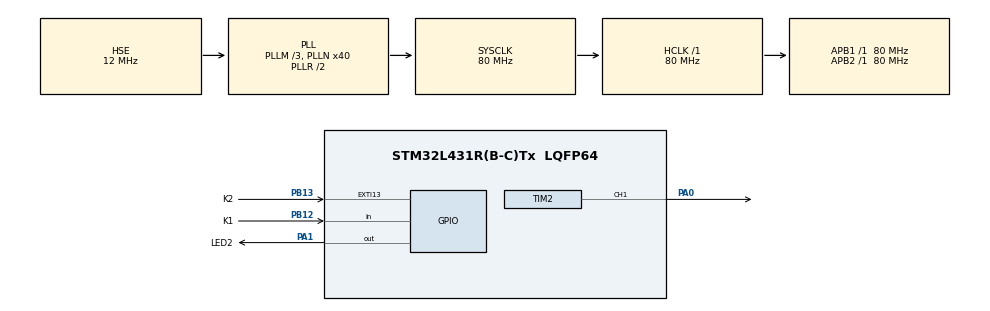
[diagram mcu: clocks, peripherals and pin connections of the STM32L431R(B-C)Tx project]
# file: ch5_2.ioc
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Mcu.Family=STM32L4
Mcu.Name=STM32L431R(B-C)Tx
Mcu.Package=LQFP64
NVIC.EXTI15_10_IRQn=true\:0\:0\:false\:false\:true\:true\:true\:true
NVIC.PriorityGroup=NVIC_PRIORITYGROUP_4
NVIC.TIM6_DAC_IRQn=true\:0\:0\:false\:false\:true\:true\:true\:true
PA0.Signal=S_TIM2_CH1
PA1.GPIO_Label=LED2
PA1.PinState=GPIO_PIN_SET
PA1.Signal=GPIO_Output
PA13\ (JTMS-SWDIO).Mode=Serial_Wire
PA13\ (JTMS-SWDIO).Signal=SYS_JTMS-SWDIO
PA14\ (JTCK-SWCLK).Mode=Serial_Wire
PA14\ (JTCK-SWCLK).Signal=SYS_JTCK-SWCLK
PB12.GPIO_Label=K1
PB12.GPIO_PuPd=GPIO_PULLDOWN
PB12.Signal=GPIO_Input
PB13.GPIO_Label=K2
PB13.GPIO_ModeDefaultEXTI=GPIO_MODE_IT_RISING
PB13.GPIO_PuPd=GPIO_PULLDOWN
PB13.Signal=GPXTI13
PH0-OSC_IN\ (PH0).Mode=HSE-External-Oscillator
PH0-OSC_IN\ (PH0).Signal=RCC_OSC_IN
PH1-OSC_OUT\ (PH1).Mode=HSE-External-Oscillator
PH1-OSC_OUT\ (PH1).Signal=RCC_OSC_OUT
ProjectManager.HeapSize=0x200
ProjectManager.StackSize=0x400
ProjectManager.TargetToolchain=STM32CubeIDE
RCC.ADCFreq_Value=16000000
RCC.AHBFreq_Value=80000000
RCC.APB1Freq_Value=80000000
RCC.APB1TimFreq_Value=80000000
RCC.APB2Freq_Value=80000000
RCC.APB2TimFreq_Value=80000000
RCC.CortexFreq_Value=80000000
RCC.HCLKFreq_Value=80000000
RCC.HSE_VALUE=12000000
RCC.HSI48_VALUE=48000000
RCC.HSI_VALUE=16000000
RCC.LSE_VALUE=32768
RCC.MSI_VALUE=4000000
RCC.PLLM=3
RCC.PLLN=40
RCC.PLLSourceVirtual=RCC_PLLSOURCE_HSE
RCC.SYSCLKFreq_VALUE=80000000
RCC.SYSCLKSource=RCC_SYSCLKSOURCE_PLLCLK
RCC.VCOOutputFreq_Value=160000000
SH.S_TIM2_CH1.0=TIM2_CH1,PWM Generation1 CH1
TIM2.AutoReloadPreload=TIM_AUTORELOAD_PRELOAD_ENABLE
TIM2.Channel-PWM\ Generation1\ CH1=TIM_CHANNEL_1
TIM2.Period=1000-1
TIM2.Prescaler=80-1
TIM6.AutoReloadPreload=TIM_AUTORELOAD_PRELOAD_ENABLE
TIM6.Period=10000-1
TIM6.Prescaler=8000-1
VP_TIM2_VS_ClockSourceINT.Mode=Internal
VP_TIM6_VS_ClockSourceINT.Mode=Enable_Timer
board=custom

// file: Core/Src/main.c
/* USER CODE BEGIN Header */
/**
  ******************************************************************************
  * @file           : main.c
  * @brief          : Main program body
  ******************************************************************************
  * @attention
  *
  * Copyright (c) 2021 STMicroelectronics.
  * All rights reserved.
  *
  * This software is licensed under terms that can be found in the LICENSE file
  * in the root directory of this software component.
  * If no LICENSE file comes with this software, it is provided AS-IS.
  *
  ******************************************************************************
  */
/*
 * �?1）上电或复位后，系统进行初始化，初始化完成后进入正常运行状�??, LED1�?1s的改变亮度，亮度�?10级，从亮�?1逐渐变为亮度10，再从亮�?10变为亮度1，以此循环�??
 * �?2）按键K1通过轮询的方式控制LED2，每按一次K1，LED2状�?�发生一次改变�??
 * �?3）按键K2通过外部中断的方式控制LED2，每按一次K1，LED2状�?�发生一次改变�??
 * */
/* USER CODE END Header */
#include "main.h"

 TIM_HandleTypeDef htim2;
TIM_HandleTypeDef htim6;

/* USER CODE BEGIN PV */
/* 3. 定义PWM参数 */
int rcc = 0;//rcc值
int up = 1;//占空比亮度增加标志
/* USER CODE END PV */

void SystemClock_Config(void);
static void MX_GPIO_Init(void);
static void MX_TIM6_Init(void);
static void MX_TIM2_Init(void);

int main(void)
{

  /* MCU Configuration--------------------------------------------------------*/

  /* Reset of all peripherals, Initializes the Flash interface and the Systick. */
  HAL_Init();

  /* Configure the system clock */
  SystemClock_Config();

  /* Initialize all configured peripherals */
  MX_GPIO_Init();
  MX_TIM6_Init();
  MX_TIM2_Init();
  /* USER CODE BEGIN 2 */

  /* 4. 启动TIM6 */
  HAL_TIM_Base_Start_IT(&htim6);

  /* 5. 启动TIM2 PWM输出 */
  HAL_TIM_PWM_Start(&htim2, TIM_CHANNEL_1);
  /* USER CODE END 2 */

  /* Infinite loop */
  /* USER CODE BEGIN WHILE */
  while (1)
  {

	  /* 1. 每按一次K1，LED1状态改变一次 */
	  if(HAL_GPIO_ReadPin(K1_GPIO_Port, K1_Pin) == GPIO_PIN_SET)//判断K1是否按下
	  {
		  while(HAL_GPIO_ReadPin(K1_GPIO_Port, K1_Pin) == GPIO_PIN_SET);//等待K1释放
		  HAL_GPIO_TogglePin(LED2_GPIO_Port, LED2_Pin);//电平翻转
	  }

    /* USER CODE END WHILE */

  }
}

void SystemClock_Config(void)
{
  RCC_OscInitTypeDef RCC_OscInitStruct = {0};
  RCC_ClkInitTypeDef RCC_ClkInitStruct = {0};

  /** Configure the main internal regulator output voltage
  */
  if (HAL_PWREx_ControlVoltageScaling(PWR_REGULATOR_VOLTAGE_SCALE1) != HAL_OK)
  {
    Error_Handler();
  }

  /** Initializes the RCC Oscillators according to the specified parameters
  * in the RCC_OscInitTypeDef structure.
  */
  RCC_OscInitStruct.OscillatorType = RCC_OSCILLATORTYPE_HSE;
  RCC_OscInitStruct.HSEState = RCC_HSE_ON;
  RCC_OscInitStruct.PLL.PLLState = RCC_PLL_ON;
  RCC_OscInitStruct.PLL.PLLSource = RCC_PLLSOURCE_HSE;
  RCC_OscInitStruct.PLL.PLLM = 3;
  RCC_OscInitStruct.PLL.PLLN = 40;
  RCC_OscInitStruct.PLL.PLLP = RCC_PLLP_DIV7;
  RCC_OscInitStruct.PLL.PLLQ = RCC_PLLQ_DIV2;
  RCC_OscInitStruct.PLL.PLLR = RCC_PLLR_DIV2;
  if (HAL_RCC_OscConfig(&RCC_OscInitStruct) != HAL_OK)
  {
    Error_Handler();
  }

  /** Initializes the CPU, AHB and APB buses clocks
  */
  RCC_ClkInitStruct.ClockType = RCC_CLOCKTYPE_HCLK|RCC_CLOCKTYPE_SYSCLK
                              |RCC_CLOCKTYPE_PCLK1|RCC_CLOCKTYPE_PCLK2;
  RCC_ClkInitStruct.SYSCLKSource = RCC_SYSCLKSOURCE_PLLCLK;
  RCC_ClkInitStruct.AHBCLKDivider = RCC_SYSCLK_DIV1;
  RCC_ClkInitStruct.APB1CLKDivider = RCC_HCLK_DIV1;
  RCC_ClkInitStruct.APB2CLKDivider = RCC_HCLK_DIV1;

  if (HAL_RCC_ClockConfig(&RCC_ClkInitStruct, FLASH_LATENCY_4) != HAL_OK)
  {
    Error_Handler();
  }
}

static void MX_TIM2_Init(void)
{

  TIM_ClockConfigTypeDef sClockSourceConfig = {0};
  TIM_MasterConfigTypeDef sMasterConfig = {0};
  TIM_OC_InitTypeDef sConfigOC = {0};

  htim2.Instance = TIM2;
  htim2.Init.Prescaler = 80-1;
  htim2.Init.CounterMode = TIM_COUNTERMODE_UP;
  htim2.Init.Period = 1000-1;
  htim2.Init.ClockDivision = TIM_CLOCKDIVISION_DIV1;
  htim2.Init.AutoReloadPreload = TIM_AUTORELOAD_PRELOAD_ENABLE;
  if (HAL_TIM_Base_Init(&htim2) != HAL_OK)
  {
    Error_Handler();
  }
  sClockSourceConfig.ClockSource = TIM_CLOCKSOURCE_INTERNAL;
  if (HAL_TIM_ConfigClockSource(&htim2, &sClockSourceConfig) != HAL_OK)
  {
    Error_Handler();
  }
  if (HAL_TIM_PWM_Init(&htim2) != HAL_OK)
  {
    Error_Handler();
  }
  sMasterConfig.MasterOutputTrigger = TIM_TRGO_RESET;
  sMasterConfig.MasterSlaveMode = TIM_MASTERSLAVEMODE_DISABLE;
  if (HAL_TIMEx_MasterConfigSynchronization(&htim2, &sMasterConfig) != HAL_OK)
  {
    Error_Handler();
  }
  sConfigOC.OCMode = TIM_OCMODE_PWM1;
  sConfigOC.Pulse = 0;
  sConfigOC.OCPolarity = TIM_OCPOLARITY_HIGH;
  sConfigOC.OCFastMode = TIM_OCFAST_DISABLE;
  if (HAL_TIM_PWM_ConfigChannel(&htim2, &sConfigOC, TIM_CHANNEL_1) != HAL_OK)
  {
    Error_Handler();
  }
  HAL_TIM_MspPostInit(&htim2);

}

static void MX_TIM6_Init(void)
{

  TIM_MasterConfigTypeDef sMasterConfig = {0};

  htim6.Instance = TIM6;
  htim6.Init.Prescaler = 8000-1;
  htim6.Init.CounterMode = TIM_COUNTERMODE_UP;
  htim6.Init.Period = 10000-1;
  htim6.Init.AutoReloadPreload = TIM_AUTORELOAD_PRELOAD_ENABLE;
  if (HAL_TIM_Base_Init(&htim6) != HAL_OK)
  {
    Error_Handler();
  }
  sMasterConfig.MasterOutputTrigger = TIM_TRGO_RESET;
  sMasterConfig.MasterSlaveMode = TIM_MASTERSLAVEMODE_DISABLE;
  if (HAL_TIMEx_MasterConfigSynchronization(&htim6, &sMasterConfig) != HAL_OK)
  {
    Error_Handler();
  }

}

static void MX_GPIO_Init(void)
{
  GPIO_InitTypeDef GPIO_InitStruct = {0};

  /* GPIO Ports Clock Enable */
  __HAL_RCC_GPIOH_CLK_ENABLE();
  __HAL_RCC_GPIOA_CLK_ENABLE();
  __HAL_RCC_GPIOB_CLK_ENABLE();

  /*Configure GPIO pin Output Level */
  HAL_GPIO_WritePin(LED2_GPIO_Port, LED2_Pin, GPIO_PIN_SET);

  /*Configure GPIO pin : LED2_Pin */
  GPIO_InitStruct.Pin = LED2_Pin;
  GPIO_InitStruct.Mode = GPIO_MODE_OUTPUT_PP;
  GPIO_InitStruct.Pull = GPIO_NOPULL;
  GPIO_InitStruct.Speed = GPIO_SPEED_FREQ_LOW;
  HAL_GPIO_Init(LED2_GPIO_Port, &GPIO_InitStruct);

  /*Configure GPIO pin : K1_Pin */
  GPIO_InitStruct.Pin = K1_Pin;
  GPIO_InitStruct.Mode = GPIO_MODE_INPUT;
  GPIO_InitStruct.Pull = GPIO_PULLDOWN;
  HAL_GPIO_Init(K1_GPIO_Port, &GPIO_InitStruct);

  /*Configure GPIO pin : K2_Pin */
  GPIO_InitStruct.Pin = K2_Pin;
  GPIO_InitStruct.Mode = GPIO_MODE_IT_RISING;
  GPIO_InitStruct.Pull = GPIO_PULLDOWN;
  HAL_GPIO_Init(K2_GPIO_Port, &GPIO_InitStruct);

  /* EXTI interrupt init*/
  HAL_NVIC_SetPriority(EXTI15_10_IRQn, 0, 0);
  HAL_NVIC_EnableIRQ(EXTI15_10_IRQn);

}

/* USER CODE BEGIN 4 */
/* 2. EXTI回调函数 */
void HAL_GPIO_EXTI_Callback(uint16_t GPIO_Pin)
{
	if(GPIO_Pin == K2_Pin)//判断是否为K2
	{
		HAL_GPIO_TogglePin(LED2_GPIO_Port, LED2_Pin);
	}
}

/* 6. 定时器回调函数 */
void HAL_TIM_PeriodElapsedCallback(TIM_HandleTypeDef *htim)
{
	/* 每1s进一次中断，即每1s改变1次rcc，从而改变占空比，实现亮度调节 */
	if(htim->Instance == TIM6)//判断是否为TIM6
	{
		/* 改变占空比，改变亮度 */
		if(up==1)//判断是否增加占空比
		{
			rcc += 100;//rcc值增加100
			__HAL_TIM_SET_COMPARE(&htim2, TIM_CHANNEL_1, rcc);//改变占空比
			if(rcc>1000)//判断rcc是否超过1000
			{
				up = 0;//rcc置0，跳转rcc递减分支
			}
		}
		else
		{
			rcc -= 100;//rcc值减100
			__HAL_TIM_SET_COMPARE(&htim2, TIM_CHANNEL_1, rcc);//改变占空比
			if(rcc<0)//判断rcc是否小于0
			{
				up = 1;
			}
		}

	}
}
/* USER CODE END 4 */

void Error_Handler(void)
{
  __disable_irq();
  while (1)
  {
  }
}
